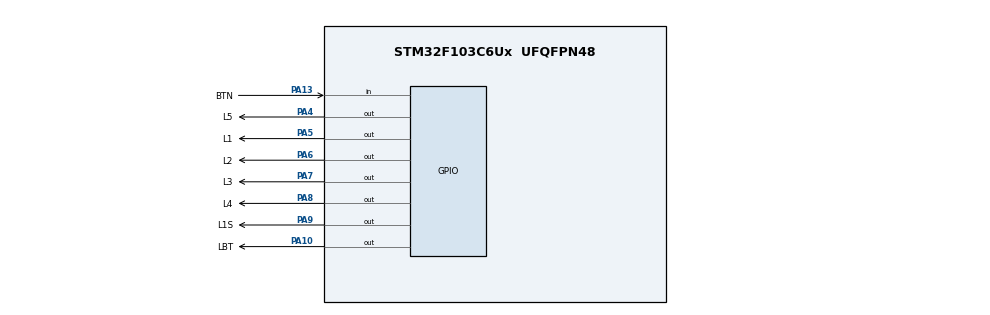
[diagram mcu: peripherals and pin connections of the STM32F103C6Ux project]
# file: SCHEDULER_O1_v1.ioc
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Mcu.Family=STM32F1
Mcu.Name=STM32F103C6Ux
Mcu.Package=UFQFPN48
NVIC.PriorityGroup=NVIC_PRIORITYGROUP_4
NVIC.TIM2_IRQn=true\:0\:0\:false\:false\:true\:true\:true
PA10.GPIO_Label=LBT
PA10.Signal=GPIO_Output
PA13.GPIO_Label=BTN
PA13.GPIO_PuPd=GPIO_PULLUP
PA13.Signal=GPIO_Input
PA4.GPIO_Label=L5
PA4.Signal=GPIO_Output
PA5.GPIO_Label=L1
PA5.Signal=GPIO_Output
PA6.GPIO_Label=L2
PA6.Signal=GPIO_Output
PA7.GPIO_Label=L3
PA7.Signal=GPIO_Output
PA8.GPIO_Label=L4
PA8.Signal=GPIO_Output
PA9.GPIO_Label=L1S
PA9.Signal=GPIO_Output
ProjectManager.HeapSize=0x200
ProjectManager.StackSize=0x400
ProjectManager.TargetToolchain=STM32CubeIDE
RCC.APB1Freq_Value=8000000
RCC.APB2Freq_Value=8000000
TIM2.Period=9
TIM2.Prescaler=7999
VP_SYS_VS_ND.Mode=No_Debug
VP_TIM2_VS_ClockSourceINT.Mode=Internal
board=custom

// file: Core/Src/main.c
/* USER CODE BEGIN Header */
/**
  ******************************************************************************
  * @file           : main.c
  * @brief          : Main program body
  ******************************************************************************
  * @attention
  *
  * <h2><center>&copy; Copyright (c) 2023 STMicroelectronics.
  * All rights reserved.</center></h2>
  *
  * This software component is licensed by ST under BSD 3-Clause license,
  * the "License"; You may not use this file except in compliance with the
  * License. You may obtain a copy of the License at:
  *                        opensource.org/licenses/BSD-3-Clause
  *
  ******************************************************************************
  */
/* USER CODE END Header */
#include "main.h"

/* USER CODE BEGIN Includes */
#include "scheduler.h"
#include "input_reading.h"
#include "input_processing.h"
/* USER CODE END Includes */

TIM_HandleTypeDef htim2;

void SystemClock_Config(void);
static void MX_GPIO_Init(void);
static void MX_TIM2_Init(void);

/* USER CODE BEGIN 0 */
void led1_0s5(){
	HAL_GPIO_TogglePin(L1_GPIO_Port, L1_Pin);
}
void led2_1s(){
	HAL_GPIO_TogglePin(L2_GPIO_Port, L2_Pin);
}
void led3_1s5(){
	HAL_GPIO_TogglePin(L3_GPIO_Port, L3_Pin);
}
void led4_2s(){
	HAL_GPIO_TogglePin(L4_GPIO_Port, L4_Pin);
}
void led1S_3s(){
	HAL_GPIO_TogglePin(L1S_GPIO_Port, L1S_Pin);
}
void ledBtn(){
	if(check_button_pressed(0)){
		HAL_GPIO_TogglePin(LBT_GPIO_Port, LBT_Pin);
	}
}
void led5_2s5(){
	HAL_GPIO_TogglePin(L5_GPIO_Port, L5_Pin);
}
/* USER CODE END 0 */

int main(void)
{

  /* MCU Configuration--------------------------------------------------------*/

  /* Reset of all peripherals, Initializes the Flash interface and the Systick. */
  HAL_Init();

  /* USER CODE BEGIN Init */
  SCH_Init();
  /* USER CODE END Init */

  /* Configure the system clock */
  SystemClock_Config();

  /* Initialize all configured peripherals */
  MX_GPIO_Init();
  MX_TIM2_Init();
  /* USER CODE BEGIN 2 */
	HAL_TIM_Base_Start_IT(&htim2);
	SCH_Add_Task(led1_0s5, 1000, 500);
	SCH_Add_Task(led2_1s, 1000, 1000);
	SCH_Add_Task(led3_1s5, 1000, 1500);
	SCH_Add_Task(led4_2s, 1000, 2000);
	SCH_Add_Task(led5_2s5, 1000, 2500);
	SCH_Add_Task(led1S_3s, 3000, 0);
	SCH_Add_Task(ledBtn, TIMER_CYCLE, TIMER_CYCLE);
  /* USER CODE END 2 */

  /* Infinite loop */
  while (1)
  {
	  SCH_Dispatch_Tasks();
  }
}

void SystemClock_Config(void)
{
  RCC_OscInitTypeDef RCC_OscInitStruct = {0};
  RCC_ClkInitTypeDef RCC_ClkInitStruct = {0};

  /** Initializes the RCC Oscillators according to the specified parameters
  * in the RCC_OscInitTypeDef structure.
  */
  RCC_OscInitStruct.OscillatorType = RCC_OSCILLATORTYPE_HSI;
  RCC_OscInitStruct.HSIState = RCC_HSI_ON;
  RCC_OscInitStruct.HSICalibrationValue = RCC_HSICALIBRATION_DEFAULT;
  RCC_OscInitStruct.PLL.PLLState = RCC_PLL_NONE;
  if (HAL_RCC_OscConfig(&RCC_OscInitStruct) != HAL_OK)
  {
    Error_Handler();
  }
  /** Initializes the CPU, AHB and APB buses clocks
  */
  RCC_ClkInitStruct.ClockType = RCC_CLOCKTYPE_HCLK|RCC_CLOCKTYPE_SYSCLK
                              |RCC_CLOCKTYPE_PCLK1|RCC_CLOCKTYPE_PCLK2;
  RCC_ClkInitStruct.SYSCLKSource = RCC_SYSCLKSOURCE_HSI;
  RCC_ClkInitStruct.AHBCLKDivider = RCC_SYSCLK_DIV1;
  RCC_ClkInitStruct.APB1CLKDivider = RCC_HCLK_DIV1;
  RCC_ClkInitStruct.APB2CLKDivider = RCC_HCLK_DIV1;

  if (HAL_RCC_ClockConfig(&RCC_ClkInitStruct, FLASH_LATENCY_0) != HAL_OK)
  {
    Error_Handler();
  }
}

static void MX_TIM2_Init(void)
{

  TIM_ClockConfigTypeDef sClockSourceConfig = {0};
  TIM_MasterConfigTypeDef sMasterConfig = {0};

  htim2.Instance = TIM2;
  htim2.Init.Prescaler = 7999;
  htim2.Init.CounterMode = TIM_COUNTERMODE_UP;
  htim2.Init.Period = 9;
  htim2.Init.ClockDivision = TIM_CLOCKDIVISION_DIV1;
  htim2.Init.AutoReloadPreload = TIM_AUTORELOAD_PRELOAD_DISABLE;
  if (HAL_TIM_Base_Init(&htim2) != HAL_OK)
  {
    Error_Handler();
  }
  sClockSourceConfig.ClockSource = TIM_CLOCKSOURCE_INTERNAL;
  if (HAL_TIM_ConfigClockSource(&htim2, &sClockSourceConfig) != HAL_OK)
  {
    Error_Handler();
  }
  sMasterConfig.MasterOutputTrigger = TIM_TRGO_RESET;
  sMasterConfig.MasterSlaveMode = TIM_MASTERSLAVEMODE_DISABLE;
  if (HAL_TIMEx_MasterConfigSynchronization(&htim2, &sMasterConfig) != HAL_OK)
  {
    Error_Handler();
  }

}

static void MX_GPIO_Init(void)
{
  GPIO_InitTypeDef GPIO_InitStruct = {0};

  /* GPIO Ports Clock Enable */
  __HAL_RCC_GPIOA_CLK_ENABLE();

  /*Configure GPIO pin Output Level */
  HAL_GPIO_WritePin(GPIOA, L5_Pin|L1_Pin|L2_Pin|L3_Pin
                          |L4_Pin|L1S_Pin|LBT_Pin, GPIO_PIN_RESET);

  /*Configure GPIO pins : L5_Pin L1_Pin L2_Pin L3_Pin
                           L4_Pin L1S_Pin LBT_Pin */
  GPIO_InitStruct.Pin = L5_Pin|L1_Pin|L2_Pin|L3_Pin
                          |L4_Pin|L1S_Pin|LBT_Pin;
  GPIO_InitStruct.Mode = GPIO_MODE_OUTPUT_PP;
  GPIO_InitStruct.Pull = GPIO_NOPULL;
  GPIO_InitStruct.Speed = GPIO_SPEED_FREQ_LOW;
  HAL_GPIO_Init(GPIOA, &GPIO_InitStruct);

  /*Configure GPIO pin : BTN_Pin */
  GPIO_InitStruct.Pin = BTN_Pin;
  GPIO_InitStruct.Mode = GPIO_MODE_INPUT;
  GPIO_InitStruct.Pull = GPIO_PULLUP;
  HAL_GPIO_Init(BTN_GPIO_Port, &GPIO_InitStruct);

}

/* USER CODE BEGIN 4 */
void HAL_TIM_PeriodElapsedCallback(TIM_HandleTypeDef *htim) {
	SCH_Update();
	button_reading();
}
/* USER CODE END 4 */

void Error_Handler(void)
{
  __disable_irq();
  while (1)
  {
  }
}

/************************ (C) COPYRIGHT STMicroelectronics *****END OF FILE****/
